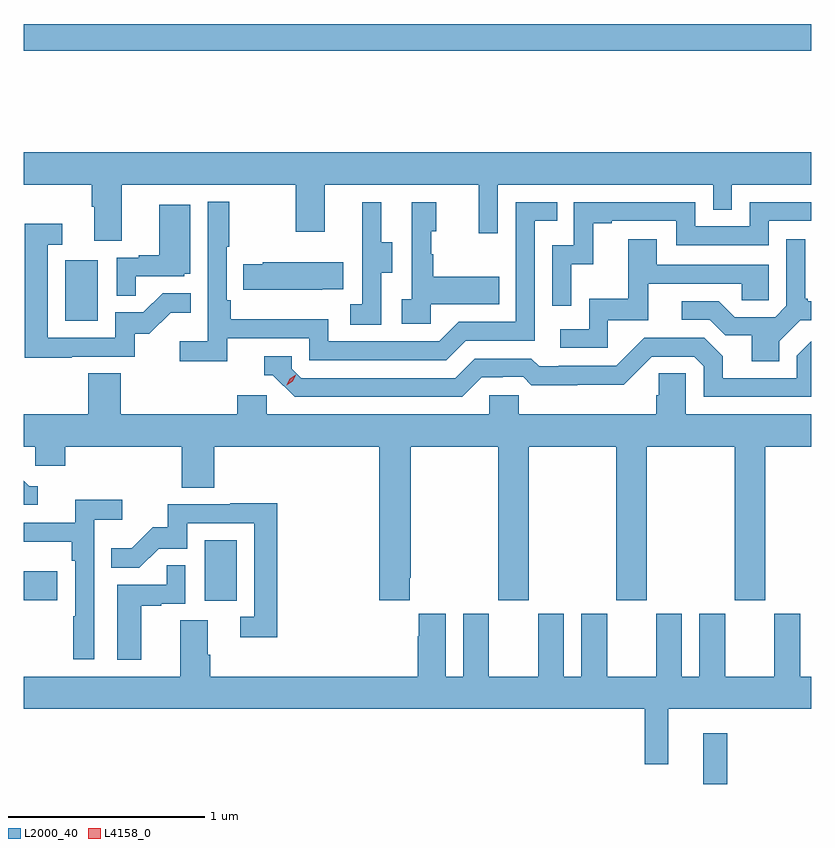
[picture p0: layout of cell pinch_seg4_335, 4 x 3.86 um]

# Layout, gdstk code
import gdstk
lib = gdstk.Library(unit=1e-6, precision=1e-09)
def R(c, l, rs):  # rectangles x0, y0, x1, y1
    for r in rs: c.add(gdstk.rectangle(r[:2], r[2:], *l))
def P(c, l, *ps):  # polygons
    for p in ps: c.add(gdstk.Polygon(p, *l))
L2000_40 = (2000, 40)
L4158_0 = (4158, 0)

pinch_seg4_335 = lib.new_cell('pinch_seg4_335')
R(pinch_seg4_335, L2000_40, [(989.297,808.426,989.419,808.684), (986.762,809.358,986.926,809.665), (985.844,809.359,986.014,809.506), (986.054,810.78,986.218,811.087), (985.844,812.152,989.844,812.288)])
P(pinch_seg4_335, L2000_40, [(986.341,811.472),(987.226,811.472),(987.226,811.233),(987.373,811.233),(987.373,811.472),(988.154,811.472),(988.154,811.224),(988.251,811.224),(988.251,811.472),(989.346,811.472),(989.346,811.345),(989.442,811.345),(989.442,811.472),(989.844,811.472),(989.844,811.636),(985.844,811.636),(985.844,811.472),(986.189,811.472),(986.189,811.36),(986.201,811.36),(986.201,811.186),(986.341,811.186)],
  [(986.876,810.69),(987.294,810.69),(987.294,810.579),(987.991,810.579),(988.09,810.678),(988.44,810.678),(988.44,811.287),(988.553,811.287),(988.553,811.383),(988.344,811.383),(988.344,810.774),(988.053,810.774),(987.954,810.675),(987.39,810.675),(987.39,810.787),(986.894,810.787),(986.894,810.883),(986.874,810.883),(986.874,811.156),(986.887,811.156),(986.887,811.384),(986.778,811.384),(986.778,810.676),(986.637,810.676),(986.637,810.574),(986.876,810.574)],
  [(988.626,811.067),(988.736,811.067),(988.736,811.275),(988.831,811.275),(988.831,811.287),(989.16,811.287),(989.16,811.164),(989.628,811.164),(989.628,811.287),(989.844,811.287),(989.844,811.383),(989.532,811.383),(989.532,811.26),(989.256,811.26),(989.256,811.383),(988.638,811.383),(988.638,811.164),(988.53,811.164),(988.53,810.855),(988.626,810.855)],
  [(987.912,810.863),(988.259,810.863),(988.259,811.003),(987.925,811.003),(987.925,811.118),(987.915,811.118),(987.915,811.236),(987.94,811.236),(987.94,811.381),(987.816,811.381),(987.816,810.89),(987.765,810.89),(987.765,810.765),(987.912,810.765)],
  [(987.66,811.024),(987.715,811.024),(987.715,811.179),(987.661,811.179),(987.661,811.381),(987.563,811.381),(987.563,811.167),(987.564,811.167),(987.564,810.863),(987.501,810.863),(987.501,810.76),(987.66,810.76)],
  [(986.411,811.005),(986.658,811.005),(986.658,811.02),(986.689,811.02),(986.689,811.369),(986.531,811.369),(986.531,811.114),(986.427,811.114),(986.427,811.101),(986.316,811.101),(986.316,810.907),(986.411,810.907)],
  [(986.087,810.597),(986.406,810.597),(986.406,810.714),(986.482,810.714),(986.589,810.821),(986.693,810.821),(986.693,810.92),(986.549,810.92),(986.451,810.822),(986.307,810.822),(986.307,810.693),(985.965,810.693),(985.965,811.167),(986.038,811.167),(986.038,811.273),(985.849,811.273),(985.849,810.592),(986.087,810.592)],
  [(989.683,810.676),(989.79,810.783),(989.844,810.783),(989.844,810.88),(989.827,810.88),(989.827,810.892),(989.815,810.892),(989.815,811.195),(989.718,811.195),(989.718,810.855),(989.661,810.798),(989.455,810.798),(989.374,810.879),(989.187,810.879),(989.187,810.786),(989.328,810.786),(989.408,810.706),(989.543,810.706),(989.543,810.574),(989.683,810.574)],
  [(988.812,810.783),(989.017,810.783),(989.017,810.969),(989.491,810.969),(989.491,810.885),(989.628,810.885),(989.628,811.065),(989.059,811.065),(989.059,811.195),(988.915,811.195),(988.915,810.892),(988.716,810.892),(988.716,810.738),(988.569,810.738),(988.569,810.642),(988.812,810.642)],
  [(987.359,810.941),(987.467,810.941),(987.467,811.078),(987.057,811.078),(987.057,811.068),(986.959,811.068),(986.959,810.938),(987.359,810.938)],
  [(988.171,810.492),(988.278,810.492),(988.278,810.495),(988.381,810.495),(988.423,810.453),(988.656,810.453),(988.656,810.455),(988.892,810.455),(989.034,810.597),(989.25,810.597),(989.298,810.549),(989.298,810.393),(989.844,810.393),(989.844,810.675),(989.772,810.603),(989.772,810.489),(989.395,810.489),(989.395,810.599),(989.301,810.693),(988.995,810.693),(988.854,810.552),(988.561,810.552),(988.561,810.549),(988.462,810.549),(988.423,810.588),(988.134,810.588),(988.035,810.489),(987.252,810.489),(987.204,810.537),(987.204,810.6),(987.065,810.6),(987.065,810.504),(987.108,810.504),(987.219,810.393),(988.072,810.393)],
  [(987.805,809.473),(987.81,809.473),(987.81,810.14),(988.255,810.14),(988.255,809.361),(988.41,809.361),(988.41,810.14),(988.855,810.14),(988.855,809.361),(989.01,809.361),(989.01,810.14),(989.455,810.14),(989.455,809.361),(989.61,809.361),(989.61,810.14),(989.844,810.14),(989.844,810.304),(989.208,810.304),(989.208,810.512),(989.071,810.512),(989.071,810.402),(989.057,810.402),(989.057,810.304),(988.359,810.304),(988.359,810.402),(988.209,810.402),(988.209,810.304),(987.078,810.304),(987.078,810.402),(986.927,810.402),(986.927,810.304),(986.336,810.304),(986.336,810.512),(986.171,810.512),(986.171,810.304),(985.844,810.304),(985.844,810.14),(985.902,810.14),(985.902,810.042),(986.054,810.042),(986.054,810.14),(986.645,810.14),(986.645,809.932),(986.81,809.932),(986.81,810.14),(987.65,810.14),(987.65,809.361),(987.805,809.361)],
  [(985.915,809.94),(985.872,809.94),(985.844,809.968),(985.844,809.844),(985.915,809.844)],
  [(986.202,809.768),(986.344,809.768),(986.344,809.87),(986.105,809.87),(986.105,809.754),(985.844,809.754),(985.844,809.657),(986.086,809.657),(986.086,809.561),(986.106,809.561),(986.106,809.279),(986.094,809.279),(986.094,809.061),(986.202,809.061)],
  [(987.131,809.852),(986.893,809.852),(986.893,809.847),(986.575,809.847),(986.575,809.73),(986.498,809.73),(986.391,809.623),(986.287,809.623),(986.287,809.524),(986.43,809.524),(986.528,809.622),(986.673,809.622),(986.673,809.751),(987.015,809.751),(987.015,809.277),(986.943,809.277),(986.943,809.172),(987.131,809.172)],
  [(986.44,809.331),(986.543,809.331),(986.543,809.343),(986.664,809.343),(986.664,809.537),(986.569,809.537),(986.569,809.439),(986.318,809.439),(986.318,809.057),(986.44,809.057)],
  [(989.119,808.808),(989.844,808.808),(989.844,808.972),(989.788,808.972),(989.788,809.29),(989.657,809.29),(989.657,808.972),(989.407,808.972),(989.407,809.29),(989.276,809.29),(989.276,808.972),(989.188,808.972),(989.188,809.29),(989.057,809.29),(989.057,808.972),(988.807,808.972),(988.807,809.29),(988.676,809.29),(988.676,808.972),(988.588,808.972),(988.588,809.29),(988.457,809.29),(988.457,808.972),(988.207,808.972),(988.207,809.29),(988.076,809.29),(988.076,808.972),(987.988,808.972),(987.988,809.29),(987.851,809.29),(987.851,809.177),(987.845,809.177),(987.845,808.972),(986.792,808.972),(986.792,809.084),(986.779,809.084),(986.779,809.258),(986.639,809.258),(986.639,808.972),(985.844,808.972),(985.844,808.808),(988.998,808.808),(988.998,808.527),(989.119,808.527)])
P(pinch_seg4_335, L4158_0, [(987.179,810.452),(987.179,810.452),(987.195,810.485),(987.226,810.505),(987.226,810.505),(987.226,810.504),(987.21,810.472),(987.18,810.452)])

lib.write_gds('pinch_seg4_335.gds')
